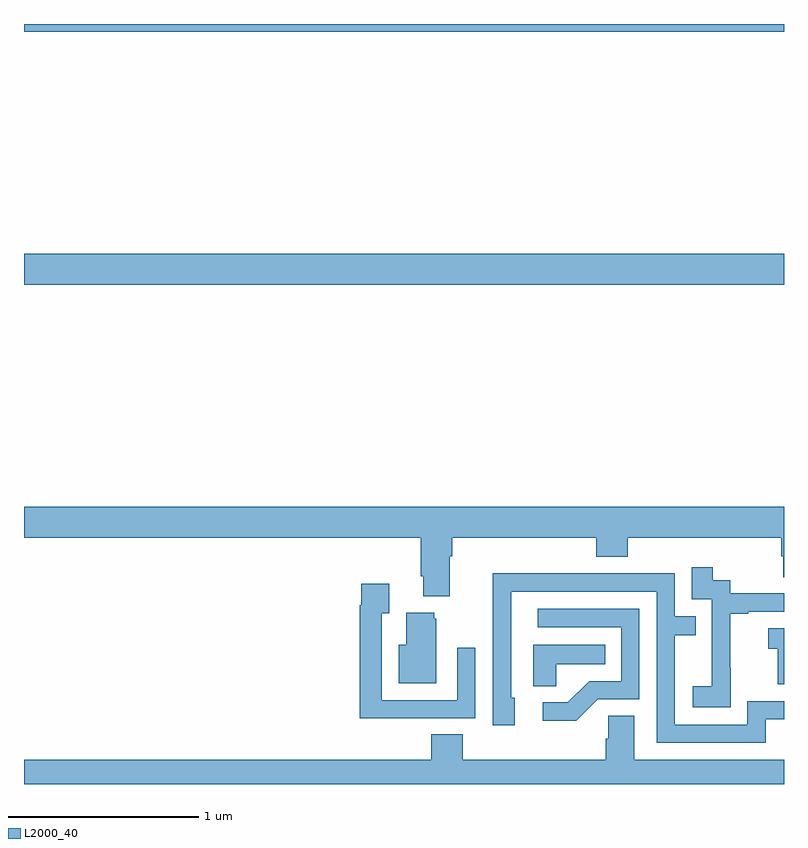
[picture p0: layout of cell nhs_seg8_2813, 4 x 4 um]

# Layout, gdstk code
import gdstk
lib = gdstk.Library(unit=1e-6, precision=1e-09)
def R(c, l, rs):  # rectangles x0, y0, x1, y1
    for r in rs: c.add(gdstk.rectangle(r[:2], r[2:], *l))
def P(c, l, *ps):  # polygons
    for p in ps: c.add(gdstk.Polygon(p, *l))
L2000_40 = (2000, 40)

nhs_seg8_2813 = lib.new_cell('nhs_seg8_2813')
R(nhs_seg8_2813, L2000_40, [(289,1088.528,293,1088.692), (289,1089.86,293,1089.9)])
P(nhs_seg8_2813, L2000_40, [(291.241,1087.1),(291.254,1087.1),(291.254,1087.196),(292.013,1087.196),(292.013,1087.097),(292.178,1087.097),(292.178,1087.196),(292.985,1087.196),(292.985,1087.098),(292.997,1087.098),(292.997,1086.988),(293,1086.988),(293,1087.36),(289,1087.36),(289,1087.196),(291.089,1087.196),(291.089,1086.994),(291.101,1086.994),(291.101,1086.887),(291.241,1086.887)],
  [(292.719,1086.511),(292.718,1086.511),(292.718,1086.795),(292.813,1086.795),(292.813,1086.807),(293,1086.807),(293,1086.903),(292.716,1086.903),(292.716,1086.972),(292.624,1086.972),(292.624,1087.042),(292.515,1087.042),(292.515,1086.873),(292.62,1086.873),(292.62,1086.644),(292.619,1086.644),(292.619,1086.415),(292.521,1086.415),(292.521,1086.305),(292.719,1086.305)],
  [(292.903,1086.24),(293,1086.24),(293,1086.336),(292.806,1086.336),(292.806,1086.213),(292.425,1086.213),(292.425,1086.682),(292.535,1086.682),(292.535,1086.783),(292.425,1086.783),(292.425,1087.008),(291.929,1087.008),(291.929,1087.01),(291.466,1087.01),(291.466,1086.703),(291.468,1086.703),(291.468,1086.21),(291.583,1086.21),(291.583,1086.354),(291.564,1086.354),(291.564,1086.912),(292.329,1086.912),(292.329,1086.117),(292.903,1086.117)],
  [(291.059,1086.246),(291.375,1086.246),(291.375,1086.616),(291.279,1086.616),(291.279,1086.342),(290.883,1086.342),(290.883,1086.799),(290.923,1086.799),(290.923,1086.955),(290.775,1086.955),(290.775,1086.842),(290.767,1086.842),(290.767,1086.245),(291.059,1086.245)],
  [(292.02,1086.345),(292.239,1086.345),(292.239,1086.822),(291.705,1086.822),(291.705,1086.726),(292.143,1086.726),(292.143,1086.441),(291.974,1086.441),(291.863,1086.33),(291.729,1086.33),(291.729,1086.233),(291.907,1086.233)],
  [(291.169,1086.771),(291.158,1086.771),(291.158,1086.802),(291.011,1086.802),(291.011,1086.634),(290.972,1086.634),(290.972,1086.431),(291.169,1086.431)],
  [(293,1086.721),(292.917,1086.721),(292.917,1086.611),(292.966,1086.611),(292.966,1086.426),(293,1086.426)],
  [(291.801,1086.53),(292.058,1086.53),(292.058,1086.634),(291.68,1086.634),(291.68,1086.415),(291.801,1086.415)],
  [(293,1086.028),(292.213,1086.028),(292.213,1086.26),(292.074,1086.26),(292.074,1086.137),(292.061,1086.137),(292.061,1086.028),(291.308,1086.028),(291.308,1086.161),(291.143,1086.161),(291.143,1086.028),(289,1086.028),(289,1085.9),(293,1085.9)])

lib.write_gds('nhs_seg8_2813.gds')
